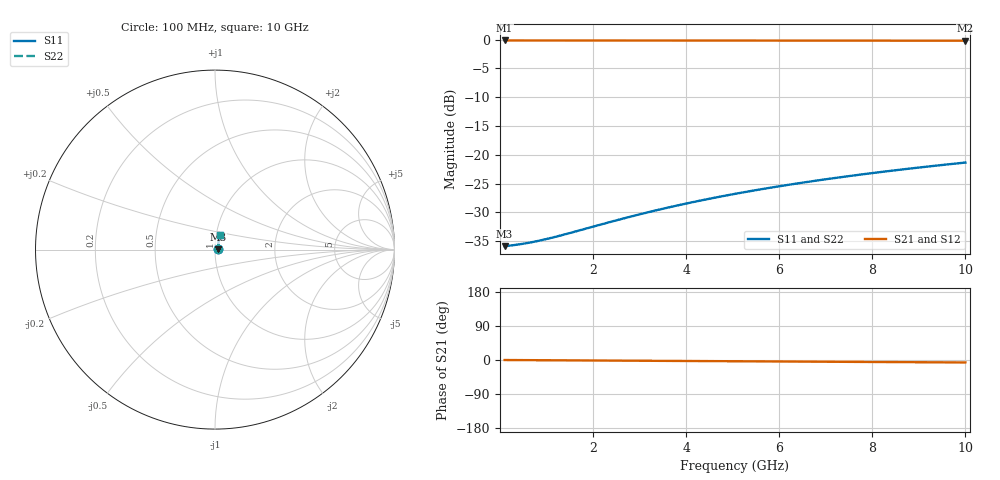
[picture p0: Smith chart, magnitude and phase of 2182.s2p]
# Hz S RI R 50.00
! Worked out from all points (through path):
!   100 points, 100 MHz to 10 GHz, reference 50 ohm
!   highest |S21| = -0.14 dB at 100 MHz (marker M1); lowest = -0.2 dB at 10 GHz (marker M2)
!   lowest |S11| = -35.9 dB at 100 MHz (marker M3), VSWR 1.03, Z = 51.6 + j0.0851 ohm
!   |S11| at or under -10 dB: start of sweep to end of sweep
!   |S22| runs from -35.9 to -21.3 dB; largest |S21 - S12| = 0
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1e8  0.0161 0.000824  0.9839 -0.00112  0.9839 -0.00112  0.0161 0.000824
3e8  0.0162 0.00247  0.9837 -0.00337  0.9837 -0.00337  0.0162 0.00247
5e8  0.0164 0.00412  0.9836 -0.00561  0.9836 -0.00561  0.0164 0.00412
8e8  0.0165 0.00659  0.9835 -0.00897  0.9835 -0.00897  0.0165 0.00659
1e9  0.0166 0.00823  0.9834 -0.0112  0.9834 -0.0112  0.0166 0.00823
1.2e9  0.0167 0.00988  0.9833 -0.0135  0.9833 -0.0135  0.0167 0.00988
1.8e9  0.017 0.0148  0.9829 -0.0202  0.9829 -0.0202  0.017 0.0148
2.3e9  0.0173 0.0189  0.9827 -0.0258  0.9827 -0.0258  0.0173 0.0189
2.7e9  0.0176 0.0222  0.9824 -0.0302  0.9824 -0.0302  0.0176 0.0222
3.1e9  0.0178 0.0255  0.9821 -0.0347  0.9821 -0.0347  0.0178 0.0255
3.4e9  0.0181 0.0279  0.9819 -0.0381  0.9819 -0.0381  0.0181 0.0279
3.8e9  0.0184 0.0312  0.9816 -0.0425  0.9816 -0.0425  0.0184 0.0312
4.2e9  0.0187 0.0345  0.9812 -0.047  0.9812 -0.047  0.0187 0.0345
4.6e9  0.0191 0.0377  0.9808 -0.0515  0.9808 -0.0515  0.0191 0.0377
5.1e9  0.0196 0.0418  0.9803 -0.057  0.9803 -0.057  0.0196 0.0418
5.5e9  0.02 0.0451  0.9798 -0.0615  0.9798 -0.0615  0.02 0.0451
5.9e9  0.0205 0.0483  0.9794 -0.0659  0.9794 -0.0659  0.0205 0.0483
6.7e9  0.0215 0.0548  0.9783 -0.0748  0.9783 -0.0748  0.0215 0.0548
7.5e9  0.0226 0.0613  0.9771 -0.0837  0.9771 -0.0837  0.0226 0.0613
8.4e9  0.024 0.0685  0.9757 -0.0936  0.9757 -0.0936  0.024 0.0685
9.2e9  0.0253 0.0749  0.9742 -0.1024  0.9742 -0.1024  0.0253 0.0749
1e10  0.0268 0.0813  0.9727 -0.1112  0.9727 -0.1112  0.0268 0.0813
